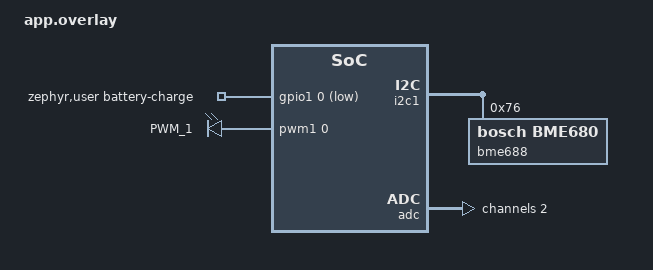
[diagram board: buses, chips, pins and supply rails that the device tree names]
/*
 * Copyright (c) 2021 Nordic Semiconductor ASA
 *
 * SPDX-License-Identifier: LicenseRef-Nordic-5-Clause
 */

#include <zephyr/dt-bindings/ipc_service/static_vrings.h>

/ {
	zephyr,user {
		battery-charge-gpios = <&gpio1 0 (GPIO_PULL_UP | GPIO_ACTIVE_LOW)>;
	};

	pwmbuzzer {
		compatible = "pwm-leds";
		status = "okay";

		buzzer: buzzer_pwm {
			pwms = <&pwm1 0 PWM_HZ(100) PWM_POLARITY_NORMAL>;
			label = "PWM_1";
		};
	};

	aliases {
		buzzer-pwm = &buzzer;
	};
};

/* Set IPC thread priority to the highest value to not collide with other threads. */
&ipc0 {
    zephyr,priority = <0 PRIO_COOP>;
};

&i2c1 {
	bme688@76 {
		compatible = "bosch,bme680";
		reg = <0x76>;
	};
};

&adc {
	#address-cells = <1>;
	#size-cells = <0>;

	channel@2 {
		reg = <2>;
		zephyr,gain = "ADC_GAIN_1";
		zephyr,reference = "ADC_REF_INTERNAL";
		zephyr,acquisition-time = <ADC_ACQ_TIME(ADC_ACQ_TIME_MICROSECONDS, 40)>;
		zephyr,input-positive = <NRF_SAADC_AIN2>;
		zephyr,resolution = <12>;
		zephyr,oversampling = <4>;
	};
};

/* Disable unused peripherals to reduce power consumption */
&pwm0 {
	status = "disabled";
};
&pwm2 {
	status = "disabled";
};
